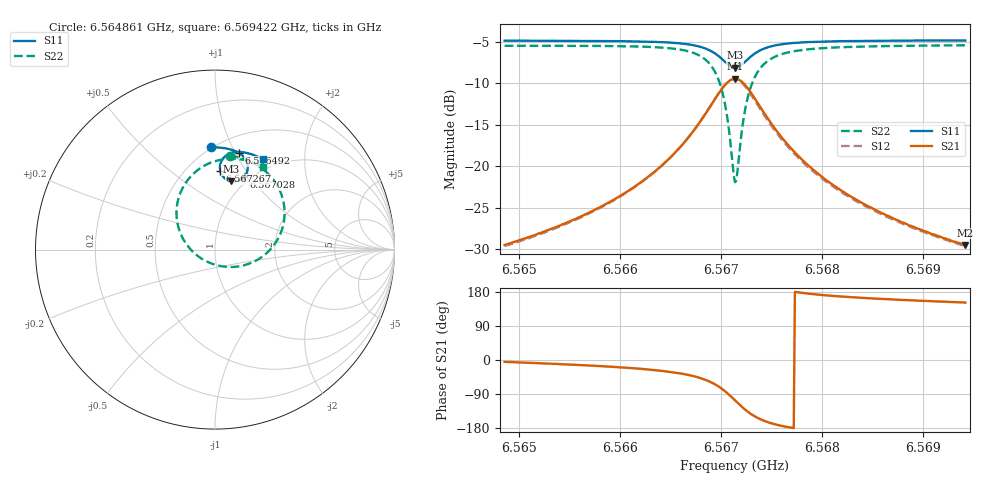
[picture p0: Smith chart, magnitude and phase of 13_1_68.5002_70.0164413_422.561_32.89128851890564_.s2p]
#  HZ  S  RI  R  50.00
! Rohde & Schwarz Vector Network Analyzer
! Rohde-Schwarz,ZNB20-2Port,1311601062101988,3.16
! Created: UTC 3/20/2024, 4:49:06 PM
! freq[Hz]  re:S11  im:S11  re:S21  im:S21  re:S12  im:S12  re:S22  im:S22
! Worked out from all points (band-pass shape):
!   401 points, 6.564861 GHz to 6.569422 GHz, reference 50 ohm
!   highest |S21| = -9.48 dB at 6.567142 GHz (marker M1); lowest = -29.5 dB at 6.569422 GHz (marker M2)
!   |S21| within 3 dB of the highest: 6.566914 GHz to 6.56737 GHz (455.6 kHz wide, 0.00694 % of centre)
!   lowest |S11| = -8.2 dB at 6.567142 GHz (marker M3), VSWR 2.28, Z = 43.3 + j39 ohm
!   |S11| at or under -10 dB: nowhere
!   |S22| runs from -21.9 to -5.4 dB; largest |S21 - S12| = 0.018
!   S11 on the Smith chart (normalised r, x): 6.564861 GHz: 0.49, +0.83; 6.566492 GHz: 0.67, +1.04; 6.567028 GHz: 0.94, +0.93; 6.567267 GHz: 0.71, +0.77; 6.569422 GHz: 0.86, +1.28
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6.5648614e9  -0.0221 0.5691  0.0334 -0.00282  0.0328 -0.00336  0.0836 0.5235
6.5656253e9  0.0431 0.5663  0.0486 -0.0118  0.0478 -0.0124  0.1641 0.5038
6.5660357e9  0.0822 0.5592  0.0638 -0.0232  0.0629 -0.0237  0.2201 0.4791
6.5663891e9  0.121 0.5453  0.0861 -0.0455  0.085 -0.0464  0.2854 0.4329
6.5664918e9  0.1338 0.5382  0.0953 -0.0573  0.0939 -0.0587  0.309 0.4091
6.566697e9  0.1619 0.514  0.1167 -0.0993  0.1149 -0.1015  0.362 0.3272
6.5668566e9  0.1807 0.4754  0.1258 -0.1679  0.1224 -0.1718  0.3877 0.1951
6.5669592e9  0.179 0.4342  0.1042 -0.2406  0.0972 -0.2456  0.3491 0.0566
6.5670276e9  0.1601 0.4024  0.0566 -0.2948  0.0447 -0.2987  0.2578 -0.0433
6.5670846e9  0.1285 0.3828  -0.0119 -0.3254  -0.0274 -0.3249  0.1294 -0.094
6.5671188e9  0.1043 0.379  -0.0616 -0.3284  -0.0781 -0.3237  0.0382 -0.0931
6.5671416e9  0.0874 0.3809  -0.0954 -0.322  -0.1113 -0.3143  -0.0216 -0.077
6.5671644e9  0.0716 0.3864  -0.1274 -0.3089  -0.1418 -0.2987  -0.0767 -0.0491
6.5672214e9  0.0411 0.4123  -0.1883 -0.2553  -0.197 -0.2407  -0.1754 0.0555
6.567267e9  0.0294 0.4386  -0.213 -0.2037  -0.2169 -0.1887  -0.2097 0.15
6.5673583e9  0.032 0.4842  -0.2149 -0.1156  -0.2128 -0.104  -0.1975 0.304
6.5674951e9  0.0597 0.5221  -0.1773 -0.0427  -0.1734 -0.0364  -0.1169 0.4259
6.5676547e9  0.092 0.5388  -0.1364 -0.00801  -0.1329 -0.0048  -0.0324 0.4809
6.5679055e9  0.131 0.5443  -0.0957 0.00983  -0.0932 0.0114  0.0563 0.5045
6.568259e9  0.1719 0.5396  -0.0653 0.0159  -0.0637 0.0166  0.1331 0.5042
6.5686694e9  0.2101 0.5289  -0.0468 0.0169  -0.0455 0.0172  0.192 0.4922
6.5694219e9  0.2691 0.5036  -0.0294 0.016  -0.0288 0.016  0.2678 0.4621
